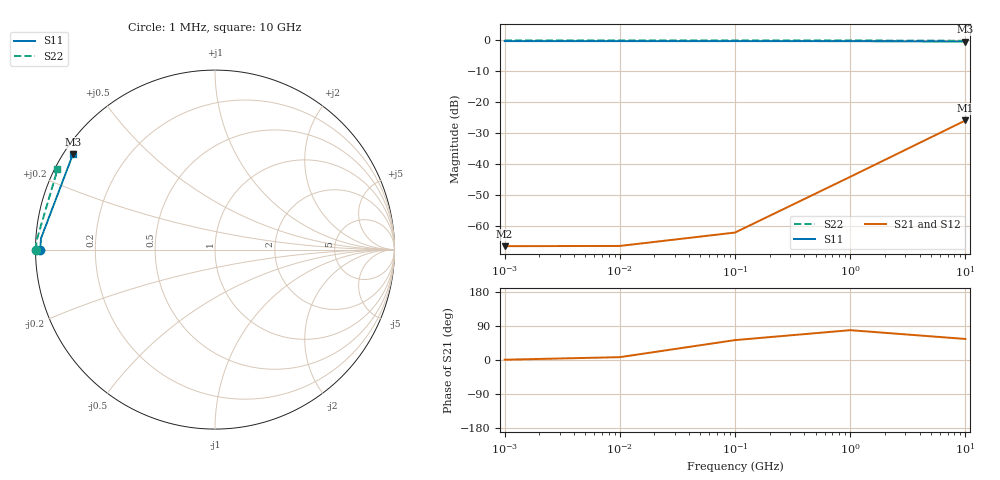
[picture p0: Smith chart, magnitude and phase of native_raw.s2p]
! Sonnet Data File
! From: em Version : 18.53-Lite
! From Project: project
! Data is NOT De-embedded
! Data File Written: 10/07/2026 09:45:45
!< HDATE 10/07/2026 09:45:45
!< MDATE 10/07/2026 09:45:45
# GHZ S RI R 50.00000
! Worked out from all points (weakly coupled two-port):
!   5 points, 1 MHz to 10 GHz, reference 50 ohm
!   highest |S21| = -25.84 dB at 10 GHz (marker M1); lowest = -66.4 dB at 1 MHz (marker M2)
!   lowest |S11| = -0.4 dB at 10 GHz (marker M3), VSWR 41.90, Z = 1.3 + j15.2 ohm
!   |S11| at or under -10 dB: nowhere
!   |S22| runs from -0.1 to 0.0 dB; largest |S21 - S12| = 2e-16
0.001  -0.9731 6.35e-05  0.000479 6.35e-06  0.000479 6.35e-06  -0.997 5.17e-05
0.01  -0.9731 0.000633  0.000479 6.3e-05  0.000479 6.3e-05  -0.997 0.000514
0.1  -0.973 0.00632  0.000484 0.00063  0.000484 0.00063  -0.9969 0.00514
1  -0.9696 0.0622  0.00123 0.00617  0.00123 0.00617  -0.9943 0.0502
10  -0.7912 0.5319  0.0289 0.0421  0.0289 0.0421  -0.8776 0.4466
